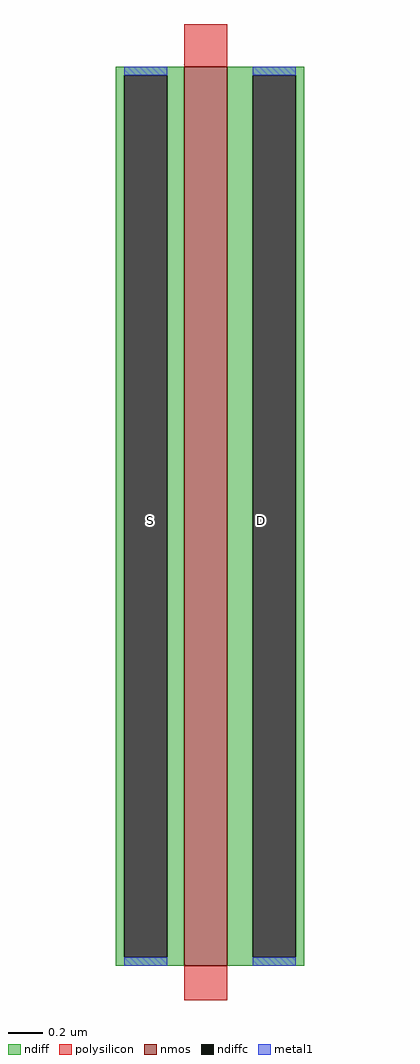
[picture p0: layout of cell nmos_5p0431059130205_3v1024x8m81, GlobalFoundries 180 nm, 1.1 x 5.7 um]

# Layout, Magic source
magic
tech gf180mcuD
<< nmos >>
rect 0 0 5 105
<< ndiff >>
rect -8 104 0 105
rect -8 1 -7 104
rect -2 1 0 104
rect -8 0 0 1
rect 5 104 14 105
rect 5 1 8 104
rect 13 1 14 104
rect 5 0 14 1
<< ndiffc >>
rect -7 1 -2 104
rect 8 1 13 104
<< polysilicon >>
rect 0 105 5 110
rect 0 -4 5 0
<< metal1 >>
rect -7 104 -2 105
rect -7 0 -2 1
rect 8 104 13 105
rect 8 0 13 1
<< labels >>
flabel ndiffc -4 52 -4 52 0 FreeSans 9 0 0 0 S
flabel ndiffc 9 52 9 52 0 FreeSans 9 0 0 0 D
<< end >>
